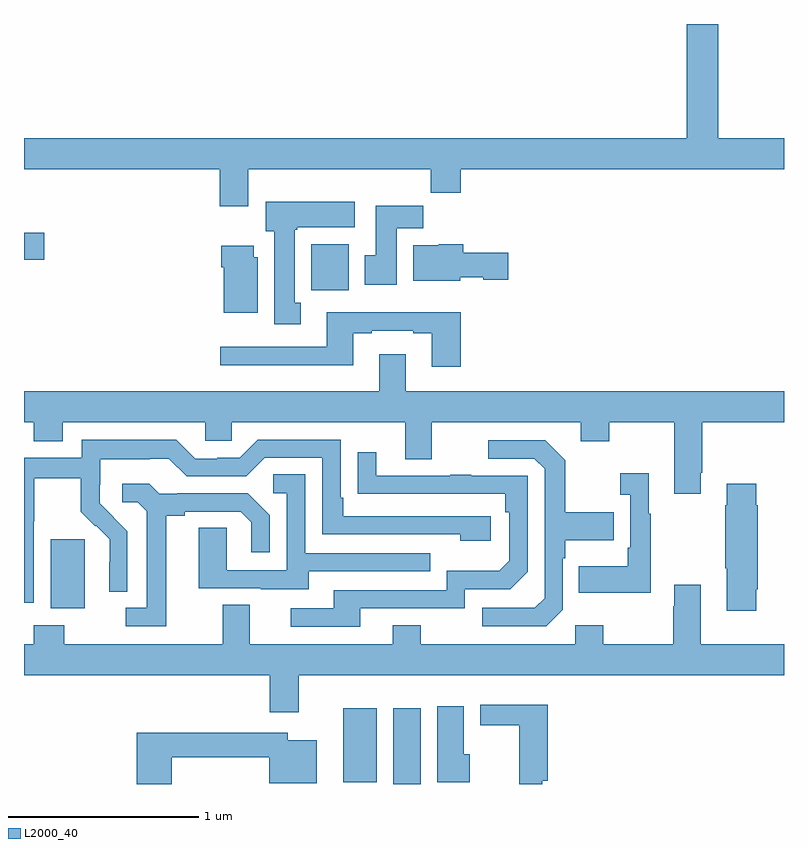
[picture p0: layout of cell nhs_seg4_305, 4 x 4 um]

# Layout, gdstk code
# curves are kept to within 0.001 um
import gdstk
lib = gdstk.Library(unit=1e-6, precision=1e-09)
def R(c, l, rs):  # rectangles x0, y0, x1, y1
    for r in rs: c.add(gdstk.rectangle(r[:2], r[2:], *l))
def P(c, l, *ps):  # polygons
    for p in ps: c.add(gdstk.Polygon(p, *l))
L2000_40 = (2000, 40)

nhs_seg4_305 = lib.new_cell('nhs_seg4_305')
R(nhs_seg4_305, L2000_40, [(126.944,810.9,127.087,811.3), (126.68,810.908,126.856,811.3), (125.141,811.826,125.32,812.187), (126.512,813.5,126.709,813.742), (125,813.659,125.107,813.801)])
P(nhs_seg4_305, L2000_40, [(126.181,814.136),(127.141,814.136),(127.141,814.012),(127.298,814.012),(127.298,814.136),(129,814.136),(129,814.3),(128.653,814.3),(128.653,814.9),(128.489,814.9),(128.489,814.3),(125,814.3),(125,814.136),(126.029,814.136),(126.029,813.942),(126.181,813.942)],
  [(126.457,813.434),(126.424,813.434),(126.424,813.817),(126.438,813.817),(126.438,813.83),(126.742,813.83),(126.742,813.964),(126.272,813.964),(126.272,813.81),(126.317,813.81),(126.317,813.321),(126.457,813.321)],
  [(126.961,813.824),(127.1,813.824),(127.1,813.943),(126.851,813.943),(126.851,813.684),(126.794,813.684),(126.794,813.528),(126.961,813.528)],
  [(127.296,813.566),(127.416,813.566),(127.416,813.554),(127.549,813.554),(127.549,813.696),(127.313,813.696),(127.313,813.742),(127.182,813.742),(127.182,813.736),(127.049,813.736),(127.049,813.548),(127.296,813.548)],
  [(126.229,813.672),(126.208,813.672),(126.208,813.733),(126.038,813.733),(126.038,813.62),(126.05,813.62),(126.05,813.38),(126.229,813.38)],
  [(127.298,813.382),(126.593,813.382),(126.593,813.201),(126.033,813.201),(126.033,813.104),(126.733,813.104),(126.733,813.273),(126.829,813.273),(126.829,813.285),(127.049,813.285),(127.049,813.273),(127.145,813.273),(127.145,813.096),(127.298,813.096)],
  [(128.563,812.539),(128.571,812.539),(128.571,812.804),(129,812.804),(129,812.968),(127.009,812.968),(127.009,813.163),(126.869,813.163),(126.869,812.968),(125,812.968),(125,812.804),(125.051,812.804),(125.051,812.705),(125.203,812.705),(125.203,812.804),(125.955,812.804),(125.955,812.706),(126.093,812.706),(126.093,812.804),(127.007,812.804),(127.007,812.61),(127.147,812.61),(127.147,812.804),(127.931,812.804),(127.931,812.705),(128.079,812.705),(128.079,812.804),(128.423,812.804),(128.423,812.427),(128.563,812.427)],
  [(125.052,812.284),(125.055,812.284),(125.055,812.508),(125.299,812.508),(125.299,812.333),(125.376,812.256),(125.379,812.259),(125.45,812.189),(125.45,812.066),(125.448,812.066),(125.448,811.912),(125.544,811.912),(125.544,812.23),(125.398,812.378),(125.398,812.475),(125.4,812.475),(125.4,812.609),(125.663,812.609),(125.663,812.613),(125.763,812.613),(125.856,812.52),(126.171,812.52),(126.267,812.616),(126.57,812.616),(126.57,812.214),(127.295,812.214),(127.295,812.18),(127.456,812.18),(127.456,812.31),(126.679,812.31),(126.679,812.407),(126.666,812.407),(126.666,812.712),(126.231,812.712),(126.135,812.616),(126.017,812.616),(126.017,812.613),(125.901,812.613),(125.801,812.713),(125.304,812.713),(125.304,812.616),(125,812.616),(125,811.855),(125.052,811.855)],
  [(127.836,811.818),(127.836,812.087),(127.849,812.087),(127.849,812.183),(128.105,812.183),(128.105,812.331),(127.849,812.331),(127.849,812.603),(127.743,812.709),(127.443,812.709),(127.443,812.613),(127.686,812.613),(127.74,812.559),(127.74,811.878),(127.689,811.827),(127.413,811.827),(127.413,811.731),(127.749,811.731)],
  [(126.769,811.824),(127.32,811.824),(127.32,811.926),(127.56,811.926),(127.65,812.016),(127.65,812.523),(127.355,812.523),(127.355,812.528),(127.243,812.528),(127.243,812.523),(126.853,812.523),(126.853,812.647),(126.757,812.647),(126.757,812.428),(127.534,812.427),(127.534,812.33),(127.554,812.33),(127.554,812.076),(127.501,812.023),(127.224,812.023),(127.224,811.92),(126.629,811.92),(126.629,811.824),(126.405,811.824),(126.405,811.728),(126.769,811.728)],
  [(128.299,812.323),(128.287,812.323),(128.287,812.536),(128.139,812.536),(128.139,812.423),(128.19,812.423),(128.19,812.143),(128.178,812.143),(128.178,812.047),(127.921,812.047),(127.921,811.907),(128.299,811.907)],
  [(126.499,812.019),(127.139,812.019),(127.139,812.115),(126.48,812.115),(126.48,812.531),(126.312,812.531),(126.312,812.43),(126.384,812.43),(126.384,812.025),(126.066,812.025),(126.066,812.249),(125.921,812.249),(125.921,811.929),(126.245,811.929),(126.245,811.925),(126.499,811.925)],
  [(128.854,811.924),(128.862,811.924),(128.862,812.366),(128.854,812.366),(128.854,812.479),(128.699,812.479),(128.699,812.366),(128.692,812.366),(128.692,812.035),(128.699,812.035),(128.699,811.812),(128.854,811.812)],
  [(125.749,812.312),(125.845,812.312),(125.845,812.334),(126.14,812.334),(126.197,812.277),(126.197,812.121),(126.294,812.121),(126.294,812.314),(126.178,812.43),(125.806,812.43),(125.806,812.427),(125.712,812.427),(125.66,812.479),(125.517,812.479),(125.517,812.382),(125.598,812.382),(125.645,812.335),(125.645,811.827),(125.535,811.827),(125.535,811.731),(125.749,811.731)],
  [(126.445,811.472),(129,811.472),(129,811.636),(128.563,811.636),(128.563,811.948),(128.423,811.948),(128.423,811.835),(128.416,811.835),(128.416,811.636),(128.049,811.636),(128.049,811.735),(127.902,811.735),(127.902,811.636),(127.089,811.636),(127.089,811.735),(126.941,811.735),(126.941,811.636),(126.187,811.636),(126.187,811.844),(126.047,811.844),(126.047,811.636),(125.211,811.636),(125.211,811.735),(125.051,811.735),(125.051,811.636),(125,811.636),(125,811.472),(126.293,811.472),(126.293,811.278),(126.445,811.278)],
  [(127.727,810.917),(127.757,810.917),(127.757,811.318),(127.401,811.318),(127.401,811.209),(127.606,811.209),(127.606,810.9),(127.727,810.9)],
  [(127.345,811.056),(127.315,811.056),(127.315,811.309),(127.175,811.309),(127.175,810.908),(127.345,810.908)],
  [(125.777,811.042),(126.29,811.042),(126.29,810.905),(126.541,810.905),(126.541,811.129),(126.388,811.129),(126.388,811.171),(125.594,811.171),(125.594,810.9),(125.777,810.9)])

lib.write_gds('nhs_seg4_305.gds')
